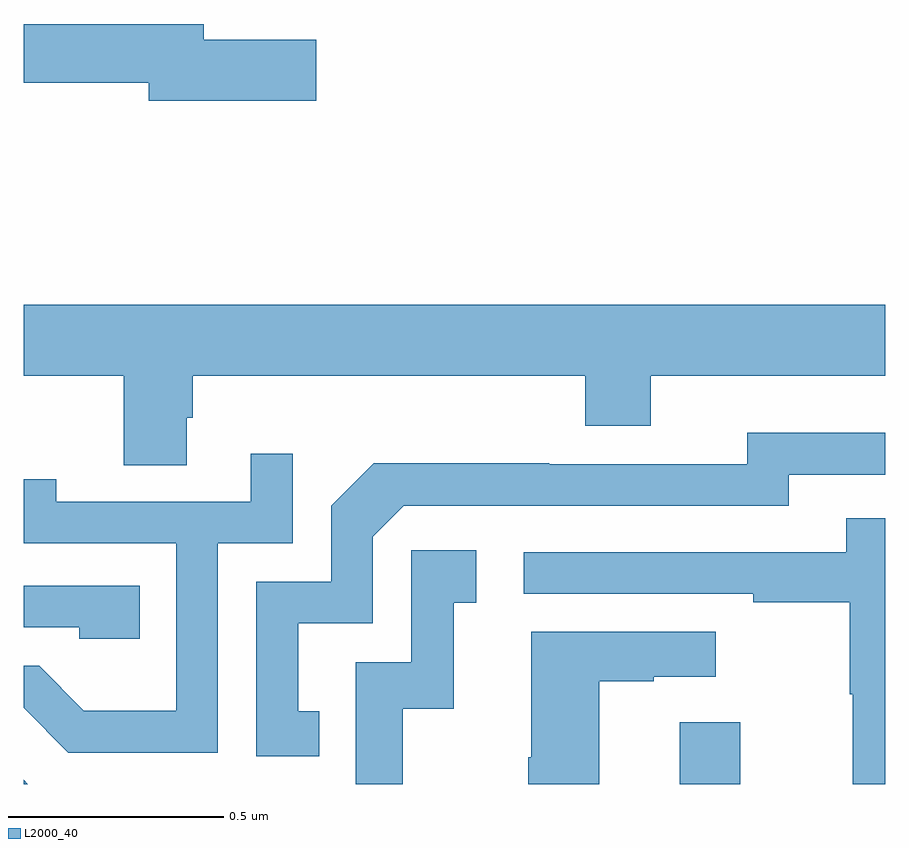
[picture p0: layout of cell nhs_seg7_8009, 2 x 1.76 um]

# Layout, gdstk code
import gdstk
lib = gdstk.Library(unit=1e-6, precision=1e-09)
def R(c, l, rs):  # rectangles x0, y0, x1, y1
    for r in rs: c.add(gdstk.rectangle(r[:2], r[2:], *l))
def P(c, l, *ps):  # polygons
    for p in ps: c.add(gdstk.Polygon(p, *l))
L2000_40 = (2000, 40)

nhs_seg7_8009 = lib.new_cell('nhs_seg7_8009')
R(nhs_seg7_8009, L2000_40, [(220.523,1001,220.663,1001.143)])
P(nhs_seg7_8009, L2000_40, [(219.679,1002.728),(219.418,1002.728),(219.418,1002.764),(219,1002.764),(219,1002.628),(219.29,1002.628),(219.29,1002.586),(219.679,1002.586)],
  [(219.379,1001.85),(219.392,1001.85),(219.392,1001.948),(220.304,1001.948),(220.304,1001.831),(220.456,1001.831),(220.456,1001.948),(221,1001.948),(221,1002.112),(219,1002.112),(219,1001.948),(219.232,1001.948),(219.232,1001.74),(219.379,1001.74)],
  [(219.686,1001.169),(219.637,1001.169),(219.637,1001.373),(219.81,1001.373),(219.81,1001.574),(219.882,1001.646),(220.776,1001.646),(220.776,1001.718),(221,1001.718),(221,1001.815),(220.68,1001.815),(220.68,1001.742),(220.22,1001.742),(220.22,1001.744),(219.812,1001.744),(219.714,1001.646),(219.714,1001.469),(219.54,1001.469),(219.54,1001.064),(219.686,1001.064)],
  [(219.45,1001.559),(219.624,1001.559),(219.624,1001.767),(219.527,1001.767),(219.527,1001.655),(219.076,1001.655),(219.076,1001.707),(219,1001.707),(219,1001.559),(219.354,1001.559),(219.354,1001.17),(219.14,1001.17),(219.036,1001.274),(219,1001.274),(219,1001.177),(219.104,1001.073),(219.45,1001.073)],
  [(221,1001.617),(220.909,1001.617),(220.909,1001.538),(220.161,1001.538),(220.161,1001.442),(220.693,1001.442),(220.693,1001.422),(220.917,1001.422),(220.917,1001.208),(220.924,1001.208),(220.924,1001),(221,1001)],
  [(219.88,1001.175),(219.998,1001.175),(219.998,1001.421),(220.051,1001.421),(220.051,1001.542),(219.9,1001.542),(219.9,1001.283),(219.771,1001.283),(219.771,1001),(219.88,1001)],
  [(219.269,1001.46),(219,1001.46),(219,1001.364),(219.129,1001.364),(219.129,1001.337),(219.269,1001.337)],
  [(220.336,1001.239),(220.463,1001.239),(220.463,1001.249),(220.606,1001.249),(220.606,1001.353),(220.178,1001.353),(220.178,1001.062),(220.171,1001.062),(220.171,1001),(220.336,1001)],
  [(219,1001.01),(219,1001),(219.01,1001)])

lib.write_gds('nhs_seg7_8009.gds')
